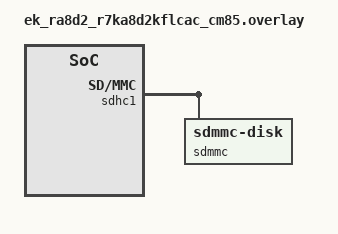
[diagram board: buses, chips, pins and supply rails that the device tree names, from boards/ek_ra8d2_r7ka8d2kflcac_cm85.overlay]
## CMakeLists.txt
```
# SPDX-License-Identifier: Apache-2.0

cmake_minimum_required(VERSION 3.28.0)
find_package(Zephyr REQUIRED HINTS $ENV{ZEPHYR_BASE})
project(fat_fs_api)

target_sources(app PRIVATE
  src/common.c
  src/main.c
  src/test_fat_fs.c
  src/test_fat_dir.c
  src/test_fat_mount.c
  src/test_fat_rename.c
  src/test_fat_rename.c
  src/test_fat_rd_only_mount.c
  src/test_fat_file.c
  src/test_fat_cve.c
  ../common/test_fs_open_flags.c
)
if(CONFIG_FILE_SYSTEM_MKFS)
  target_sources_ifdef(CONFIG_FLASH app PRIVATE
    ../common/test_fs_mkfs.c
    src/test_fat_mkfs.c
  )
endif()
target_sources_ifdef(CONFIG_FILE_SYSTEM_GETATTR app PRIVATE
  src/test_fat_attr.c
)
target_sources_ifdef(CONFIG_FS_FATFS_REENTRANT app PRIVATE
  src/test_fat_file_reentrant.c
)
```

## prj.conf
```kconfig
CONFIG_FILE_SYSTEM=y
CONFIG_FILE_SYSTEM_MKFS=y
CONFIG_LOG=y
CONFIG_FAT_FILESYSTEM_ELM=y
CONFIG_ZTEST=y
CONFIG_FLASH=y
CONFIG_FLASH_MAP=y

# Demonstrate filesystem time integration
CONFIG_FS_FATFS_HAS_RTC=y
```

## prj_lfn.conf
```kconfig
CONFIG_FILE_SYSTEM=y
CONFIG_FILE_SYSTEM_MKFS=y
CONFIG_LOG=y
CONFIG_FAT_FILESYSTEM_ELM=y
CONFIG_FS_FATFS_LFN=y
CONFIG_FS_FATFS_EXTRA_NATIVE_API=y
CONFIG_ZTEST=y
CONFIG_FLASH=y
CONFIG_FLASH_MAP=y
```

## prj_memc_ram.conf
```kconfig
CONFIG_FILE_SYSTEM=y
CONFIG_FILE_SYSTEM_MKFS=y
CONFIG_LOG=y
CONFIG_FAT_FILESYSTEM_ELM=y
CONFIG_ZTEST=y
CONFIG_FLASH=y
CONFIG_DISK_DRIVER_FLASH=n
CONFIG_MEMC=y
CONFIG_MAIN_STACK_SIZE=4096
CONFIG_ZTEST_STACK_SIZE=4096
```

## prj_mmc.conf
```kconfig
CONFIG_FILE_SYSTEM=y
CONFIG_LOG=y
CONFIG_FAT_FILESYSTEM_ELM=y
CONFIG_SPI=y
CONFIG_GPIO=y
CONFIG_ZTEST=y
CONFIG_MAIN_STACK_SIZE=4096
CONFIG_ZTEST_STACK_SIZE=2048
```

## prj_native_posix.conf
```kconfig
CONFIG_FILE_SYSTEM=y
CONFIG_LOG=y
CONFIG_FAT_FILESYSTEM_ELM=y
CONFIG_DISK_DRIVER_FLASH=y
CONFIG_DISK_FLASH_DEV_NAME="flash-controller@0"
CONFIG_DISK_FLASH_START=0
CONFIG_DISK_FLASH_MAX_RW_SIZE=256
CONFIG_DISK_ERASE_BLOCK_SIZE=0x1000
CONFIG_DISK_FLASH_ERASE_ALIGNMENT=0x1000
CONFIG_DISK_VOLUME_SIZE=0x200000
CONFIG_ZTEST=y
CONFIG_ZTEST_NEW_API=y
```

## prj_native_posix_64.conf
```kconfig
CONFIG_FILE_SYSTEM=y
CONFIG_LOG=y
CONFIG_FAT_FILESYSTEM_ELM=y
CONFIG_DISK_DRIVER_FLASH=y
CONFIG_ZTEST=y
CONFIG_ZTEST_NEW_API=y
```

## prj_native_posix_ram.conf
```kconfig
CONFIG_FILE_SYSTEM=y
CONFIG_FILE_SYSTEM_MKFS=y
CONFIG_LOG=y
CONFIG_FAT_FILESYSTEM_ELM=y
CONFIG_DISK_DRIVER_RAM=y
CONFIG_ZTEST=y
CONFIG_ZTEST_NEW_API=y
CONFIG_FLASH=y
CONFIG_FLASH_MAP=y
```

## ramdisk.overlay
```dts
/*
 * Copyright (c) 2023 Nordic Semiconductor ASA
 *
 * SPDX-License-Identifier: Apache-2.0
 */

/ {
	ramdisk0 {
		compatible = "zephyr,ram-disk";
		disk-name = "RAM";
		sector-size = <512>;
		sector-count = <128>;
	};

	fstab {
		compatible = "zephyr,fstab";

		test_fstab: test-fstab {
			compatible = "zephyr,fstab,fatfs";
			mount-point = "/RAM:";
			disk-access;
			no-format;
		};
	};
};
```

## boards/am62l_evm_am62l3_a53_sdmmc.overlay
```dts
/*
 * Copyright (c) 2026 Texas Instruments
 *
 * SPDX-License-Identifier: Apache-2.0
 */

&main_sdhci0 {
	status = "disabled";

	mmc {
		status = "disabled";
	};
};

&main_sdhci1 {
	sd {
		disk-name = "SD";
	};
};
```

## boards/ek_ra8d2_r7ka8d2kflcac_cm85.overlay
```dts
/*
 * Copyright (c) 2025 Renesas Electronics Corporation
 * SPDX-License-Identifier: Apache-2.0
 */

/ {
	aliases {
		sdhc0 = &sdhc1;
	};
};

&pinctrl {
	sdhc1_default: sdhc1_default {
		group1 {
			psels = <RA_PSEL(RA_PSEL_SDHI, 4, 6)>, /* SDCD */
				<RA_PSEL(RA_PSEL_SDHI, 4, 1)>, /* SDCMD */
				<RA_PSEL(RA_PSEL_SDHI, 4, 2)>, /* SDDATA0 */
				<RA_PSEL(RA_PSEL_SDHI, 4, 3)>, /* SDDATA1 */
				<RA_PSEL(RA_PSEL_SDHI, 4, 4)>, /* SDDATA2 */
				<RA_PSEL(RA_PSEL_SDHI, 4, 5)>, /* SDDATA3 */
				<RA_PSEL(RA_PSEL_SDHI, 7, 0)>; /* SDWP */
			drive-strength = "high";
		};

		group2 {
			psels = <RA_PSEL(RA_PSEL_SDHI, 4, 0)>; /* SDCLK */
			drive-strength = "highspeed-high";
		};
	};
};

&sdhc1 {
	pinctrl-0 = <&sdhc1_default>;
	pinctrl-names = "default";
	interrupt-names = "accs", "card", "dma-req", "sdio-int";
	interrupts = <95 1>, <94 1>, <93 1>, <92 1>;
	status = "okay";

	sdmmc {
		compatible = "zephyr,sdmmc-disk";
		disk-name = "SD";
		status = "okay";
	};
};
```

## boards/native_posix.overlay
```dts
/*
 * Copyright (c) 2022 Nordic Semiconductor ASA
 *
 * SPDX-License-Identifier: Apache-2.0
 */

&flashcontroller0 {
	reg = <0x00000000 DT_SIZE_K(2048)>;
};

&flash0 {
	reg = <0x00000000 DT_SIZE_K(2048)>;
	partitions {
		compatible = "fixed-partitions";
		#address-cells = <1>;
		#size-cells = <1>;

		flashdisk_partition: partition@0 {
			label = "flashdisk";
			reg = <0x00000000 0x00200000>;
		};
	};
};

/ {
	storage_disk {
		compatible = "zephyr,flash-disk";
		partition = <&flashdisk_partition>;
		disk-name = "NAND";
		cache-size = <4096>;
	};
};
```

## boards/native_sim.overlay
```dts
/*
 * Copyright (c) 2022 Nordic Semiconductor ASA
 *
 * SPDX-License-Identifier: Apache-2.0
 */

&flashcontroller0 {
	reg = <0x00000000 DT_SIZE_K(2048)>;
};

&flash0 {
	reg = <0x00000000 DT_SIZE_K(2048)>;

	partitions {
		compatible = "fixed-partitions";
		#address-cells = <1>;
		#size-cells = <1>;

		flashdisk_partition: partition@0 {
			reg = <0x00000000 0x00200000>;
			label = "flashdisk";
		};
	};
};

/ {
	test_disk: storage_disk {
		compatible = "zephyr,flash-disk";
		partition = <&flashdisk_partition>;
		disk-name = "NAND";
		cache-size = <4096>;
	};
};
```

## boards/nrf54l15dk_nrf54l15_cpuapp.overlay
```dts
/*
 * Copyright (c) 2026 Nordic Semiconductor ASA
 * SPDX-License-Identifier: Apache-2.0
 */

/ {
	test_disk: msc_disk0 {
		compatible = "zephyr,flash-disk";
		partition = <&slot1_partition>;
		disk-name = "NOR";
		cache-size = <4096>;
	};
};
```

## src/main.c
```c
/*
 * Copyright (c) 2016 Intel Corporation.
 * Copyright (c) 2023 Husqvarna AB
 *
 * SPDX-License-Identifier: Apache-2.0
 */

#include <time.h>

#include <zephyr/sys/clock.h>
#include "test_fat.h"
void test_fs_open_flags(void);
const char *test_fs_open_flags_file_path = FATFS_MNTP "/the_file.txt";

/* Time integration for filesystem */
DWORD get_fattime(void)
{
	struct timespec ts;
	time_t unix_time;
	struct tm *cal;

	sys_clock_gettime(SYS_CLOCK_REALTIME, &ts);
	unix_time = ts.tv_sec;

	/* Convert to calendar time */
	cal = localtime(&unix_time);

	/* From http://elm-chan.org/fsw/ff/doc/fattime.html */
	return (DWORD)(cal->tm_year - 80) << 25 | (DWORD)(cal->tm_mon + 1) << 21 |
	       (DWORD)cal->tm_mday << 16 | (DWORD)cal->tm_hour << 11 | (DWORD)cal->tm_min << 5 |
	       (DWORD)cal->tm_sec >> 1;
}

static void *fat_fs_basic_setup(void)
{
	fs_file_t_init(&filep);
	test_fat_mount();
	test_fat_file();
	test_fat_dir();
	test_fat_fs();
#ifdef CONFIG_FILE_SYSTEM_GETATTR
	test_fat_attr();
#endif /* CONFIG_FILE_SYSTEM_GETATTR */
	test_fat_rename();
	test_fat_cve();
	test_fs_open_flags();
#ifdef CONFIG_FS_FATFS_REENTRANT
	test_fat_file_reentrant();
#endif /* CONFIG_FS_FATFS_REENTRANT */
	test_fat_unmount();

	return NULL;
}
ZTEST_SUITE(fat_fs_basic, NULL, fat_fs_basic_setup, NULL, NULL, NULL);
```

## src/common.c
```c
/*
 * Copyright (c) 2016 Intel Corporation.
 * Copyright (c) 2023 Husqvarna AB
 * Copyright 2026 NXP
 *
 * SPDX-License-Identifier: Apache-2.0
 */

#include "test_fat.h"

#include <zephyr/storage/disk_access.h>
#include <zephyr/sys/byteorder.h>

/* FatFs work area */
FATFS fat_fs;
struct fs_file_t filep;
const char test_str[] = "hello world!";

#if defined(CONFIG_FS_FATFS_MULTI_PARTITION)
/*
 * FatFS multi-partition mapping.
 *
 * Map logical drive 0 ("SD:") -> physical disk 0, MBR partition #1.
 * This allows formatting/mounting within the partition rather than using
 * super-floppy formatting on the whole card.
 */
PARTITION VolToPart[] = {
	{0, 1},
};
#endif

/* For large disks, we only send 1024 erase requests
 * This assumption relies on the fact that any filesystem headers will be
 * stored within this range, and is made to improve execution time of this
 * test
 */
#define MAX_ERASES 1024

int check_file_dir_exists(const char *path)
{
	int res;
	struct fs_dirent entry;

	/* Verify fs_stat() */
	res = fs_stat(path, &entry);

	return !res;
}

static uint8_t erase_buffer[4096] __aligned(32) = {0};

int wipe_partition(void)
{
	uint32_t sector_size;
	uint32_t sector_count;
	uint32_t sector_wr_jmp;
	uint32_t sector_wr_size;

	/*
	 * When using FatFS multi-partition, preserve the partition table (MBR) and
	 * only wipe the beginning of the first partition.
	 */
#if defined(CONFIG_FS_FATFS_MULTI_PARTITION)
	static uint8_t mbr[512] __aligned(32);
	uint32_t part_lba;
	uint32_t part_sectors;
#endif

	if (disk_access_init(DISK_NAME)) {
		TC_PRINT("Failed to init disk " DISK_NAME "\n");
		return TC_FAIL;
	}

#if defined(CONFIG_FS_FATFS_MULTI_PARTITION)
	if (disk_access_read(DISK_NAME, mbr, 0, 1)) {
		TC_PRINT("Failed to read MBR from disk " DISK_NAME "\n");
		return TC_FAIL;
	}

	/* Verify MBR signature 0x55AA */
	if (mbr[510] != 0x55 || mbr[511] != 0xAA) {
		TC_PRINT("Invalid MBR signature on disk " DISK_NAME "\n");
		return TC_FAIL;
	}

	/* First partition entry starts at offset 446. Start LBA is at +8, size at +12 */
	part_lba = sys_get_le32(&mbr[446 + 8]);
	part_sectors = sys_get_le32(&mbr[446 + 12]);

	if (part_lba == 0U || part_sectors == 0U) {
		TC_PRINT("MBR partition #1 not found/invalid on disk " DISK_NAME "\n");
		return TC_FAIL;
	}
#endif

	if (disk_access_ioctl(DISK_NAME, DISK_IOCTL_GET_SECTOR_COUNT, &sector_count)) {
		TC_PRINT("Failed to get disk " DISK_NAME " sector count\n");
		return TC_FAIL;
	}
	if (disk_access_ioctl(DISK_NAME, DISK_IOCTL_GET_SECTOR_SIZE, &sector_size)) {
		TC_PRINT("Failed to get disk " DISK_NAME " sector size\n");
		return TC_FAIL;
	}

	if (sector_size > ARRAY_SIZE(erase_buffer)) {
		TC_PRINT("Predefined \"erase_buffer\" to small to handle single sector\n");
		return TC_FAIL;
	}

#if defined(CONFIG_FS_FATFS_MULTI_PARTITION)
	/* Wipe only within the first partition (cap to 64 sectors for speed) */
	sector_count = MIN(part_sectors, 64U);
#else
	if (sector_count > 64) {
		/* partition only in first 32k */
		sector_count = 64;
	}
#endif
	sector_wr_size = MIN(sector_size, ARRAY_SIZE(erase_buffer));
	sector_wr_jmp = sector_wr_size / sector_wr_size;
	TC_PRINT("For " DISK_NAME " using sector write size %" PRIu32 " to write %" PRIu32
		 " at once\n",
		 sector_wr_size, sector_wr_jmp);

	for (uint32_t sector_idx = 0; sector_idx < sector_count; sector_idx += sector_wr_jmp) {
#if defined(CONFIG_FS_FATFS_MULTI_PARTITION)
		uint32_t phys_sector = part_lba + sector_idx;
#else
		uint32_t phys_sector = sector_idx;
#endif
		if (disk_access_write(DISK_NAME, erase_buffer, phys_sector, 1)) {
			TC_PRINT("Failed to \"erase\" sector %" PRIu32 " to " DISK_NAME "\n",
				 phys_sector);
			return TC_FAIL;
		}
	}

	return TC_PASS;
}
```

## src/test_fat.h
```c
/*
 * Copyright (c) 2016 Intel Corporation.
 * Copyright (c) 2020 Nordic Semiconductor ASA
 * Copyright (c) 2023 Husqvarna AB
 *
 * SPDX-License-Identifier: Apache-2.0
 */

#include <zephyr/kernel.h>
#include <zephyr/ztest.h>
#include <zephyr/fs/fs.h>
#include <ff.h>

#if defined(CONFIG_DISK_DRIVER_RAM) || defined(CONFIG_DISK_DRIVER_MEMC_RAM)
#define DISK_NAME "RAM"
#elif defined(CONFIG_DISK_DRIVER_FLASH)
#define DISK_NAME DT_PROP(DT_NODELABEL(test_disk), disk_name)
#elif defined(CONFIG_DISK_DRIVER_SDMMC)
#define DISK_NAME "SD"
#elif defined(CONFIG_DISK_DRIVER_MMC)
#define DISK_NAME "SD2"
#elif defined(CONFIG_DISK_DRIVER_VIRTIO_BLK)
#define DISK_NAME DT_PROP(DT_NODELABEL(virtio_blk), disk_name)
#else
#error "Failed to select DISK access type"
#endif

#define FATFS_MNTP	"/"DISK_NAME":"
#if defined(CONFIG_FS_FATFS_LFN)
#define TEST_FILE	FATFS_MNTP \
	"/testlongfilenamethatsmuchlongerthan8.3chars.text"
#else
#define TEST_FILE	FATFS_MNTP"/testfile.txt"
#endif /* CONFIG_FS_FATFS_LFN */
#define TEST_DIR	FATFS_MNTP"/testdir"
#define TEST_DIR_FILE	FATFS_MNTP"/testdir/testfile.txt"

extern struct fs_file_t filep;
extern const char test_str[];
/* FatFs work area */
extern FATFS fat_fs;

int check_file_dir_exists(const char *path);
int wipe_partition(void);

void test_fat_mount(void);
void test_fat_unmount(void);
void test_fat_file(void);
void test_fat_dir(void);
void test_fat_fs(void);
void test_fat_attr(void);
void test_fat_rename(void);
void test_fat_cve(void);
#ifdef CONFIG_FS_FATFS_REENTRANT
void test_fat_file_reentrant(void);
#endif /* CONFIG_FS_FATFS_REENTRANT */
```

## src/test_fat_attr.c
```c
/*
 * Copyright (c) 2026 Rishav Chakraborty
 *
 * SPDX-License-Identifier: Apache-2.0
 */

#include "test_fat.h"
#include <string.h>

static void write_test_file(fs_mode_t flags)
{
	ssize_t brw;
	int res;

	res = fs_open(&filep, TEST_FILE, flags);
	zassert_equal(res, 0, "fs_open failed [%d]", res);

	brw = fs_write(&filep, test_str, strlen(test_str));
	zassert_equal(brw, strlen(test_str), "fs_write failed [%zd]", brw);

	res = fs_close(&filep);
	zassert_equal(res, 0, "fs_close failed [%d]", res);
}

static void test_attr_mtime(void)
{
	struct fs_attr before;
	struct fs_attr after;
	int res;

	if (!IS_ENABLED(CONFIG_FS_FATFS_HAS_RTC)) {
		TC_PRINT("FatFs timestamping disabled, skipping mtime test\n");
		return;
	}

	write_test_file(FS_O_CREATE | FS_O_RDWR);

	res = fs_getattr(TEST_FILE, &before);
	zassert_equal(res, 0, "fs_getattr failed [%d]", res);
	zassert_true((before.mask & FS_ATTR_MTIME) != 0U, "mtime not supported");

	/* FAT timestamps have 2 second resolution */
	k_sleep(K_SECONDS(2));

	write_test_file(FS_O_RDWR);

	res = fs_getattr(TEST_FILE, &after);
	zassert_equal(res, 0, "fs_getattr failed [%d]", res);
	zassert_true(after.mtime > before.mtime, "mtime did not advance (%lld, %lld)",
		     (long long)before.mtime, (long long)after.mtime);

	res = fs_unlink(TEST_FILE);
	zassert_equal(res, 0, "fs_unlink failed [%d]", res);
}

static void test_attr_mount_point(void)
{
	struct fs_attr attr;
	int res;

	/* The FAT root directory has no timestamp */
	res = fs_getattr(FATFS_MNTP, &attr);
	zassert_equal(res, 0, "fs_getattr on mount point failed [%d]", res);
	zassert_equal(attr.mtime, 0, "Unexpected mtime %lld", (long long)attr.mtime);
}

void test_fat_attr(void)
{
	test_attr_mtime();
	test_attr_mount_point();
}
```

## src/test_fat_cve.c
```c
/*
 * Copyright (c) 2026 Linaro Limited
 *
 * SPDX-License-Identifier: Apache-2.0
 */

/*
 * Regression tests for vendored FatFs (ff.c) security fixes. These tests drive
 * ff.c's f_lseek() extend path directly on the already-mounted volume.
 */

#include "test_fat.h"
#include <string.h>

#define CVE_FILE DISK_NAME ":/cve6686.bin"

/*
 * CVE-2026-6686 (GHSA-h94p-vjqx-v7rr): extending a file past end-of-file with
 * f_lseek() must not expose residual on-disk data. The newly in-file range has
 * to read back as zeros, covering both freshly allocated clusters and the
 * unused tail (slack) of an already-allocated cluster.
 */
static int test_cve_2026_6686(void)
{
	static FIL fp;
	static uint8_t buf[512];
	int res;
	unsigned int bw, br;

	TC_PRINT("\nCVE-2026-6686 (f_lseek past-EOF zeroing):\n");

	/* Scenario 1: extend an empty file; the whole range must read zeroed. */
	res = f_open(&fp, CVE_FILE, FA_CREATE_ALWAYS | FA_WRITE | FA_READ);
	if (res != FR_OK) {
		TC_PRINT("f_open failed [%d]\n", res);
		return TC_FAIL;
	}
	res = f_lseek(&fp, 400);
	if (res != FR_OK || f_size(&fp) != 400) {
		TC_PRINT("f_lseek extend failed [%d]\n", res);
		f_close(&fp);
		return TC_FAIL;
	}
	f_lseek(&fp, 0);
	memset(buf, 0xAA, sizeof(buf));
	res = f_read(&fp, buf, 400, &br);
	if (res != FR_OK || br != 400) {
		TC_PRINT("f_read failed [%d] (%u)\n", res, br);
		f_close(&fp);
		return TC_FAIL;
	}
	for (int i = 0; i < 400; i++) {
		if (buf[i] != 0) {
			TC_PRINT("empty-extend leaked residual at %d (0x%02x)\n", i, buf[i]);
			f_close(&fp);
			return TC_FAIL;
		}
	}
	f_close(&fp);

	/*
	 * Scenario 2 (partial-cluster / straddle): write real data, truncate so
	 * its tail becomes unused slack that stays on disk, then re-extend within
	 * the same cluster. The re-exposed slack must read zeroed while the kept
	 * byte survives. This is the case whole-cluster zeroing alone would miss.
	 */
	res = f_open(&fp, CVE_FILE, FA_CREATE_ALWAYS | FA_WRITE | FA_READ);
	if (res != FR_OK) {
		TC_PRINT("f_open(2) failed [%d]\n", res);
		return TC_FAIL;
	}
	memset(buf, 0xCC, 400);
	res = f_write(&fp, buf, 400, &bw);
	if (res != FR_OK || bw != 400) {
		TC_PRINT("f_write failed [%d] (%u)\n", res, bw);
		f_close(&fp);
		return TC_FAIL;
	}
	f_lseek(&fp, 1);
	res = f_truncate(&fp);		/* objsize == 1, [1, 400) slack still on disk */
	if (res != FR_OK) {
		TC_PRINT("f_truncate failed [%d]\n", res);
		f_close(&fp);
		return TC_FAIL;
	}
	res = f_lseek(&fp, 300);		/* re-extend within the same cluster */
	if (res != FR_OK) {
		TC_PRINT("f_lseek re-extend failed [%d]\n", res);
		f_close(&fp);
		return TC_FAIL;
	}
	f_lseek(&fp, 0);
	memset(buf, 0xAA, sizeof(buf));
	res = f_read(&fp, buf, 300, &br);
	if (res != FR_OK || br != 300) {
		TC_PRINT("f_read(2) failed [%d] (%u)\n", res, br);
		f_close(&fp);
		return TC_FAIL;
	}
	f_close(&fp);
	(void)f_unlink(CVE_FILE);

	if (buf[0] != 0xCC) {
		TC_PRINT("straddle kept byte clobbered (0x%02x)\n", buf[0]);
		return TC_FAIL;
	}
	for (int i = 1; i < 300; i++) {
		if (buf[i] != 0) {
			TC_PRINT("straddle leaked slack at %d (0x%02x)\n", i, buf[i]);
			return TC_FAIL;
		}
	}

	TC_PRINT("CVE-2026-6686: PASS\n");
	return TC_PASS;
}

void test_fat_cve(void)
{
	zassert_true(test_cve_2026_6686() == TC_PASS);
}
```

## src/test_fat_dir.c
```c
/*
 * Copyright (c) 2016 Intel Corporation.
 *
 * SPDX-License-Identifier: Apache-2.0
 */


#include "test_fat.h"
#include <stdio.h>

extern int test_file_write(void);
extern int test_file_close(void);
static int test_rmdir(void);

static int test_mkdir(void)
{
	int res;

	TC_PRINT("\nmkdir tests:\n");

	if (check_file_dir_exists(TEST_DIR)) {
		TC_PRINT("[%s] exists, delete it\n", TEST_DIR);
		if (test_rmdir()) {
			TC_PRINT("Error deleting dir %s\n", TEST_DIR);
			return TC_FAIL;
		}
	} else {
		TC_PRINT("Creating new dir %s\n", TEST_DIR);
	}

	/* Verify fs_mkdir() */
	res = fs_mkdir(TEST_DIR);
	if (res) {
		TC_PRINT("Error creating dir[%d]\n", res);
		return res;
	}

	res = fs_open(&filep, TEST_DIR_FILE, FS_O_CREATE | FS_O_RDWR);
	if (res) {
		TC_PRINT("Failed opening file [%d]\n", res);
		return res;
	}

	res = test_file_write();
	if (res) {
		return res;
	}

	res = fs_close(&filep);
	if (res) {
		TC_PRINT("Error closing file [%d]\n", res);
		return res;
	}

	TC_PRINT("Created dir %s!\n", TEST_DIR);

	return res;
}

static int test_lsdir(const char *path)
{
	int res;
	struct fs_dir_t dirp;
	struct fs_dirent entry;

	TC_PRINT("\nlsdir tests:\n");

	fs_dir_t_init(&dirp);

	/* Verify fs_opendir() */
	res = fs_opendir(&dirp, path);
	if (res) {
		TC_PRINT("Error opening dir %s [%d]\n", path, res);
		return res;
	}

	TC_PRINT("\nListing dir %s:\n", path);
	for (;;) {
		/* Verify fs_readdir() */
		res = fs_readdir(&dirp, &entry);

		/* entry.name[0] == 0 means end-of-dir */
		if (res || entry.name[0] == 0) {
			break;
		}

		if (entry.type == FS_DIR_ENTRY_DIR) {
			TC_PRINT("[DIR ] %s\n", entry.name);
		} else {
			TC_PRINT("[FILE] %s (size = %zu)\n",
				entry.name, entry.size);
		}
	}

	/* Verify fs_closedir() */
	fs_closedir(&dirp);

	return res;
}

static int test_rmdir(void)
{
	int res;
	struct fs_dir_t dirp;
	static struct fs_dirent entry;
	char file_path[80 + MAX_FILE_NAME];

	TC_PRINT("\nrmdir tests:\n");

	fs_dir_t_init(&dirp);

	if (!check_file_dir_exists(TEST_DIR)) {
		TC_PRINT("%s doesn't exist\n", TEST_DIR);
		return TC_FAIL;
	}

	res = fs_opendir(&dirp, TEST_DIR);
	if (res) {
		TC_PRINT("Error opening dir[%d]\n", res);
		return res;
	}

	TC_PRINT("\nRemoving files and sub directories in %s\n", TEST_DIR);
	for (;;) {
		res = fs_readdir(&dirp, &entry);

		/* entry.name[0] == 0 means end-of-dir */
		if (res || entry.name[0] == 0) {
			break;
		}

		/* Delete file or sub directory */
		sprintf(file_path, "%s/%s", TEST_DIR, entry.name);
		TC_PRINT("Removing %s\n", file_path);

		res = fs_unlink(file_path);
		if (res) {
			TC_PRINT("Error deleting file/dir [%d]\n", res);
			fs_closedir(&dirp);
			return res;
		}
	}

	fs_closedir(&dirp);

	/* Verify fs_unlink() */
	res = fs_unlink(TEST_DIR);
	if (res) {
		TC_PRINT("Error removing dir [%d]\n", res);
		return res;
	}

	TC_PRINT("Removed dir %s!\n", TEST_DIR);

	return res;
}

void test_fat_dir(void)
{
	zassert_true(test_mkdir() == TC_PASS);
	zassert_true(test_lsdir(FATFS_MNTP) == TC_PASS);
	zassert_true(test_lsdir(TEST_DIR) == TC_PASS);
	zassert_true(test_rmdir() == TC_PASS);
	zassert_true(test_lsdir(FATFS_MNTP) == TC_PASS);
}
```

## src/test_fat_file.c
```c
/*
 * Copyright (c) 2016 Intel Corporation.
 *
 * SPDX-License-Identifier: Apache-2.0
 */


#include "test_fat.h"
#include <string.h>

static int test_file_open(void)
{
	int res;

	TC_PRINT("\nOpen tests:\n");

	if (check_file_dir_exists(TEST_FILE)) {
		TC_PRINT("Opening existing file %s\n", TEST_FILE);
	} else {
		TC_PRINT("Creating new file %s\n", TEST_FILE);
	}

	/* Verify fs_open() */
	res = fs_open(&filep, TEST_FILE, FS_O_CREATE | FS_O_RDWR);
	if (res) {
		TC_PRINT("Failed opening file [%d]\n", res);
		return res;
	}

	TC_PRINT("Opened file %s\n", TEST_FILE);

	if (check_file_dir_exists(TEST_FILE)) {
		TC_PRINT("File now exists %s\n", TEST_FILE);
	}

	return res;
}

int test_file_write(void)
{
	ssize_t brw;
	int res;

	TC_PRINT("\nWrite tests:\n");

	/* Verify fs_seek() */
	res = fs_seek(&filep, 0, FS_SEEK_SET);
	if (res) {
		TC_PRINT("fs_seek failed [%d]\n", res);
		fs_close(&filep);
		return res;
	}

	TC_PRINT("Data written:\"%s\"\n\n", test_str);

	/* Verify fs_write() */
	brw = fs_write(&filep, (char *)test_str, strlen(test_str));
	if (brw < 0) {
		TC_PRINT("Failed writing to file [%zd]\n", brw);
		fs_close(&filep);
		return brw;
	}

	if (brw < strlen(test_str)) {
		TC_PRINT("Unable to complete write. Volume full.\n");
		TC_PRINT("Number of bytes written: [%zd]\n", brw);
		fs_close(&filep);
		return TC_FAIL;
	}

	TC_PRINT("Data successfully written!\n");

	return res;
}

static int test_file_sync(void)
{
	int res;

	TC_PRINT("\nSync tests:\n");

	/* Verify fs_sync() */
	res = fs_sync(&filep);
	if (res) {
		TC_PRINT("Error syncing file [%d]\n", res);
		return res;
	}

	return res;
}

static int test_file_read(void)
{
	ssize_t brw;
	int res;
	char read_buff[80];
	size_t sz = strlen(test_str);

	TC_PRINT("\nRead tests:\n");

	res = fs_seek(&filep, 0, FS_SEEK_SET);
	if (res) {
		TC_PRINT("fs_seek failed [%d]\n", res);
		fs_close(&filep);
		return res;
	}

	/* Verify fs_read() */
	brw = fs_read(&filep, read_buff, sz);
	if (brw < 0) {
		TC_PRINT("Failed reading file [%zd]\n", brw);
		fs_close(&filep);
		return brw;
	}

	read_buff[brw] = 0;

	TC_PRINT("Data read:\"%s\"\n\n", read_buff);

	if (strcmp(test_str, read_buff)) {
		TC_PRINT("Error - Data read does not match data written\n");
		TC_PRINT("Data read:\"%s\"\n\n", read_buff);
		return TC_FAIL;
	}

	TC_PRINT("Data read matches data written\n");

	return res;
}

static int test_file_truncate(void)
{
	int res;
	off_t orig_pos;
	char read_buff[80];
	ssize_t brw;

	TC_PRINT("\nTruncate tests:\n");

	/* Verify fs_truncate() */
	/* Test truncating to 0 size */
	TC_PRINT("\nTesting shrink to 0 size\n");
	res = fs_truncate(&filep, 0);
	if (res) {
		TC_PRINT("fs_truncate failed [%d]\n", res);
		fs_close(&filep);
		return res;
	}

	fs_seek(&filep, 0, FS_SEEK_END);
	/* Verify fs_tell() */
	if (fs_tell(&filep) > 0) {
		TC_PRINT("Failed truncating to size 0\n");
		fs_close(&filep);
		return TC_FAIL;
	}

	TC_PRINT("Testing write after truncating\n");
	res = test_file_write();
	if (res) {
		TC_PRINT("Write failed after truncating\n");
		return res;
	}

	fs_seek(&filep, 0, FS_SEEK_END);

	orig_pos = fs_tell(&filep);
	TC_PRINT("Original size of file = %ld\n", (long) orig_pos);

	/* Test shrinking file */
	TC_PRINT("\nTesting shrinking\n");
	res = fs_truncate(&filep, orig_pos - 5);
	if (res) {
		TC_PRINT("fs_truncate failed [%d]\n", res);
		fs_close(&filep);
		return res;
	}

	fs_seek(&filep, 0, FS_SEEK_END);
	TC_PRINT("File size after shrinking by 5 bytes = %ld\n",
						(long) fs_tell(&filep));
	if (fs_tell(&filep) != (orig_pos - 5)) {
		TC_PRINT("File size after fs_truncate not as expected\n");
		fs_close(&filep);
		return TC_FAIL;
	}

	/* Test expanding file */
	TC_PRINT("\nTesting expanding\n");
	fs_seek(&filep, 0, FS_SEEK_END);
	orig_pos = fs_tell(&filep);
	res = fs_truncate(&filep, orig_pos + 10);
	if (res) {
		TC_PRINT("fs_truncate failed [%d]\n", res);
		fs_close(&filep);
		return res;
	}

	fs_seek(&filep, 0, FS_SEEK_END);
	TC_PRINT("File size after expanding by 10 bytes = %ld\n",
						(long) fs_tell(&filep));
	if (fs_tell(&filep) != (orig_pos + 10)) {
		TC_PRINT("File size after fs_truncate not as expected\n");
		fs_close(&filep);
		return TC_FAIL;
	}

	/* Check if expanded regions are zeroed */
	TC_PRINT("Testing for zeroes in expanded region\n");
	fs_seek(&filep, -5, FS_SEEK_END);

	brw = fs_read(&filep, read_buff, 5);

	if (brw < 5) {
		TC_PRINT("Read failed after truncating\n");
		fs_close(&filep);
		return -1;
	}

	for (int i = 0; i < 5; i++) {
		if (read_buff[i]) {
			TC_PRINT("Expanded regions are not zeroed\n");
			fs_close(&filep);
			return TC_FAIL;
		}
	}

	return res;
}

static int test_file_seek_past_end(void)
{
	char read_buff[11];
	off_t size;
	ssize_t brw;
	int res;

	TC_PRINT("\nSeek past the end tests:\n");

	res = fs_seek(&filep, 0, FS_SEEK_END);
	if (res != 0) {
		TC_PRINT("fs_seek failed [%d]\n", res);
		fs_close(&filep);
		return res;
	}

	size = fs_tell(&filep);

	/* The file is open for writing, so it grows up to the new position */
	res = fs_seek(&filep, 10, FS_SEEK_END);
	if (res != 0) {
		TC_PRINT("fs_seek past the end failed [%d]\n", res);
		fs_close(&filep);
		return res;
	}

	if (fs_tell(&filep) != (size + 10)) {
		TC_PRINT("Position after seeking past the end not as expected\n");
		fs_close(&filep);
		return TC_FAIL;
	}

	brw = fs_write(&filep, "x", 1);
	if (brw != 1) {
		TC_PRINT("Failed writing past the end [%zd]\n", brw);
		fs_close(&filep);
		return TC_FAIL;
	}

	fs_seek(&filep, size, FS_SEEK_SET);
	brw = fs_read(&filep, read_buff, sizeof(read_buff));
	if (brw != sizeof(read_buff)) {
		TC_PRINT("Failed reading the extended region [%zd]\n", brw);
		fs_close(&filep);
		return TC_FAIL;
	}

	for (int i = 0; i < 10; i++) {
		if (read_buff[i] != 0) {
			TC_PRINT("Extended region is not zeroed\n");
			fs_close(&filep);
			return TC_FAIL;
		}
	}

	if (read_buff[10] != 'x') {
		TC_PRINT("Data written past the end not read back\n");
		fs_close(&filep);
		return TC_FAIL;
	}

	return TC_PASS;
}

static int test_file_seek_past_end_read_only(void)
{
	struct fs_file_t file;
	int res;

	TC_PRINT("\nSeek past the end of a read-only file tests:\n");

	fs_file_t_init(&file);

	res = fs_open(&file, TEST_FILE, FS_O_READ);
	if (res != 0) {
		TC_PRINT("Failed opening file [%d]\n", res);
		return res;
	}

	res = fs_seek(&file, 1, FS_SEEK_END);
	fs_close(&file);

	if (res != -EINVAL) {
		TC_PRINT("Seeking past the end of a read-only file returned [%d]\n", res);
		return TC_FAIL;
	}

	return TC_PASS;
}

int test_file_close(void)
{
	int res;

	TC_PRINT("\nClose tests:\n");

	res = fs_close(&filep);
	if (res) {
		TC_PRINT("Error closing file [%d]\n", res);
		return res;
	}

	TC_PRINT("Closed file %s\n", TEST_FILE);

	return res;
}

static int test_file_delete(void)
{
	int res;

	TC_PRINT("\nDelete tests:\n");

	/* Verify fs_unlink() */
	res = fs_unlink(TEST_FILE);
	if (res) {
		TC_PRINT("Error deleting file [%d]\n", res);
		return res;
	}

	/* Check if file was deleted */
	if (check_file_dir_exists(TEST_FILE)) {
		TC_PRINT("Failed deleting %s\n", TEST_FILE);
		return TC_FAIL;
	}

	TC_PRINT("File (%s) deleted successfully!\n", TEST_FILE);

	return res;
}

void test_fat_file(void)
{
	zassert_true(test_file_open() == TC_PASS);
	zassert_true(test_file_write() == TC_PASS);
	zassert_true(test_file_sync() == TC_PASS);
	zassert_true(test_file_read() == TC_PASS);
	zassert_true(test_file_truncate() == TC_PASS);
	zassert_true(test_file_seek_past_end() == TC_PASS);
	zassert_true(test_file_close() == TC_PASS);
	zassert_true(test_file_seek_past_end_read_only() == TC_PASS);
	zassert_true(test_file_delete() == TC_PASS);
}
```

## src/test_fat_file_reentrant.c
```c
/*
 * Copyright (c) 2023 Husqvarna AB
 *
 * SPDX-License-Identifier: Apache-2.0
 */

#include "test_fat.h"

#ifdef CONFIG_FS_FATFS_REENTRANT

#define REENTRANT_TEST_STACK_SIZE 500
#define SEMAPHORE_OP_SUCCESS 0
#define TEST_FILE2 FATFS_MNTP"/tfile2.txt"

void tlock_mutex(void *p1, void *p2, void *p3);
void tfile2_access(void *p1, void *p2, void *p3);

K_THREAD_STACK_DEFINE(tlock_mutex_stack_area, REENTRANT_TEST_STACK_SIZE);
K_THREAD_STACK_DEFINE(tfile2_access_stack_area, REENTRANT_TEST_STACK_SIZE);
struct k_thread tlock_mutex_data;
struct k_thread tfile2_access_data;
struct k_sem mutex_unlocked_sem;
struct k_sem run_non_thread_sem;

static int test_reentrant_access(void)
{
	int res;

	TC_PRINT("\nReentrant tests:\n");
	zassert_ok(k_sem_init(&mutex_unlocked_sem, 0, 1));
	zassert_ok(k_sem_init(&run_non_thread_sem, 0, 1));

	/* Start mutex locking thread */
	k_tid_t tid = k_thread_create(&tlock_mutex_data, tlock_mutex_stack_area,
			K_THREAD_STACK_SIZEOF(tlock_mutex_stack_area),
			tlock_mutex,
			NULL, NULL, NULL,
			K_PRIO_PREEMPT(0), 0, K_NO_WAIT);

	/* Make sure thread was able to lock mutex */
	k_sem_take(&run_non_thread_sem, K_FOREVER);

	/* File open should wait here, as the fs is locked. Therefore, automatic switch back to
	 * thread
	 */
	TC_PRINT("Open file\n");
	res = fs_open(&filep, TEST_FILE, FS_O_CREATE | FS_O_RDWR);
	zassert_ok(res, "Err: File could not be opened [%d]\n", res);
	TC_PRINT("File opened\n");

	/* Check if mutex thread really unlocked the mutexes */
	zassert_equal(SEMAPHORE_OP_SUCCESS, k_sem_take(&mutex_unlocked_sem, K_NO_WAIT),
		      "File open with locked mutex");

	/* Cleanup */
	res = fs_close(&filep);
	zassert_ok(res, "Error closing file [%d]\n", res);
	res = fs_unlink(TEST_FILE);
	zassert_ok(res, "Error deleting file [%d]\n", res);

	k_thread_join(tid, K_FOREVER);

	return res;
}

static int test_reentrant_parallel_file_access(void)
{
	int res;

	TC_PRINT("\nParallel reentrant-safe file access test:\n");

	TC_PRINT("Open file 1\n");
	res = fs_open(&filep, TEST_FILE, FS_O_CREATE | FS_O_RDWR);
	zassert_ok(res, "Err: File 1 could not be opened [%d]\n", res);
	TC_PRINT("File 1 opened 1\n");

	/* Start 2nd file access thread */
	k_tid_t tid = k_thread_create(&tfile2_access_data, tfile2_access_stack_area,
				      K_THREAD_STACK_SIZEOF(tfile2_access_stack_area),
				      tfile2_access,
				      NULL, NULL, NULL,
				      K_PRIO_PREEMPT(0), 0, K_NO_WAIT);

	/* Wait for thread to finish accessing file 2 */
	k_thread_join(tid, K_FOREVER);

	/* Check existence of file 2 */
	struct fs_file_t filep2;

	fs_file_t_init(&filep2);

	TC_PRINT("Check file 2 existence\n");
	res = fs_open(&filep2, TEST_FILE2, FA_OPEN_EXISTING | FA_READ);
	zassert_ok(res, "Err: File 2 does not exist [%d]\n", res);

	/* Cleanup */
	res = fs_close(&filep2);
	zassert_ok(res, "Error closing file 2 [%d]\n", res);
	res = fs_unlink(TEST_FILE2);
	zassert_ok(res, "Error deleting file 2 [%d]\n", res);
	res = fs_close(&filep);
	zassert_ok(res, "Error closing file 1 [%d]\n", res);
	res = fs_unlink(TEST_FILE);
	zassert_ok(res, "Error deleting file 1 [%d]\n", res);

	return res;
}

void release_dirty_mutex(void)
{
	ff_mutex_give(fat_fs.ldrv);
}

int request_dirty_mutex(void)
{
	return ff_mutex_take(fat_fs.ldrv);
}

void tlock_mutex(void *p1, void *p2, void *p3)
{
	TC_PRINT("Mutex thread: Started, locking fs\n");
	request_dirty_mutex();
	TC_PRINT("Mutex thread: Lock acquired, yield to switch back to try to open file\n");
	k_sem_give(&run_non_thread_sem);
	k_yield();

	TC_PRINT("Mutex thread: Got back to thread, release mutex now and give semaphore to check "
		 "if file opened\n");
	k_sem_give(&mutex_unlocked_sem);
	release_dirty_mutex();

	TC_PRINT("Mutex thread: Lock released, thread terminating\n");
}

void tfile2_access(void *p1, void *p2, void *p3)
{
	int res;
	ssize_t brw;
	struct fs_file_t filep2;

	TC_PRINT("File 2 access thread started\n");

	/* Init fp for 2nd File for parallel access test */
	fs_file_t_init(&filep2);

	/* open 2nd file */
	TC_PRINT("Open file 2\n");
	res = fs_open(&filep2, TEST_FILE2, FS_O_CREATE | FS_O_RDWR);
	zassert_ok(res, "Err: File 2 could not be opened [%d]\n", res);
	TC_PRINT("File 2 opened 2\n");

	/* Verify fs_write() not locked */
	brw = fs_write(&filep2, (char *)test_str, strlen(test_str));
	if (brw < 0) {
		TC_PRINT("Failed writing to file [%zd]\n", brw);
		fs_close(&filep2);
		return;
	}

	if (brw < strlen(test_str)) {
		TC_PRINT("Unable to complete write. Volume full.\n");
		TC_PRINT("Number of bytes written: [%zd]\n", brw);
		fs_close(&filep2);
		return;
	}

	/* Close file and switch back to test context*/
	res = fs_close(&filep2);
	zassert_ok(res, "Error closing file [%d]\n", res);

	TC_PRINT("File 2 access thread successfully wrote to file 2\n");
}

void test_fat_file_reentrant(void)
{
	zassert_true(test_reentrant_access() == TC_PASS);
	zassert_true(test_reentrant_parallel_file_access() == TC_PASS);
}
#endif  /* CONFIG_FS_FATFS_REENTRANT */
```

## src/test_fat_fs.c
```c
/*
 * Copyright (c) 2016 Intel Corporation.
 *
 * SPDX-License-Identifier: Apache-2.0
 */

#include "test_fat.h"

static int test_statvfs(void)
{
	struct fs_statvfs stat;
	int res;

	/* Verify fs_statvfs() */
	res = fs_statvfs(FATFS_MNTP, &stat);
	if (res) {
		TC_PRINT("Error getting volume stats [%d]\n", res);
		return res;
	}

	TC_PRINT("\n");
	TC_PRINT("Optimal transfer block size   = %lu\n", stat.f_bsize);
	TC_PRINT("Allocation unit size          = %lu\n", stat.f_frsize);
	TC_PRINT("Volume size in f_frsize units = %lu\n", stat.f_blocks);
	TC_PRINT("Free space in f_frsize units  = %lu\n", stat.f_bfree);

	return TC_PASS;
}

void test_fat_fs(void)
{
	zassert_true(test_statvfs() == TC_PASS);
}
```

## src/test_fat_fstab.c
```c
/*
 * Copyright (c) 2026 Meta Platforms, Inc. and affiliates.
 *
 * SPDX-License-Identifier: Apache-2.0
 */

#include <zephyr/storage/disk_access.h>

#include "test_fat.h"

#define TEST_FSTAB DT_NODELABEL(test_fstab)

FS_FSTAB_DECLARE_ENTRY(TEST_FSTAB);

ZTEST(fat_fs_fstab, test_fstab_no_format)
{
	struct fs_mount_t *mp = &FS_FSTAB_ENTRY(TEST_FSTAB);
	static uint8_t sector[512];

	zassert_ok(wipe_partition());
	zassert_not_equal(mp->flags & FS_MOUNT_FLAG_NO_FORMAT, 0U);
	zassert_true(fs_mount(mp) < 0, "mounted a disk without a file system");

	zassert_ok(disk_access_read(DISK_NAME, sector, 0, 1));
	zassert_false((sector[510] == 0x55U) && (sector[511] == 0xAAU), "disk was formatted");
}

ZTEST_SUITE(fat_fs_fstab, NULL, NULL, NULL, NULL, NULL);
```

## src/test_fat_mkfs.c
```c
/*
 * Copyright (c) 2022 Antmicro
 *
 * SPDX-License-Identifier: Apache-2.0
 */


#include "test_fat.h"
#include <ff.h>

/* mounting info */
static struct fs_mount_t fatfs_mnt = {
	.type = FS_FATFS,
	.mnt_point = "/"DISK_NAME":",
	.fs_data = &fat_fs,
};

void test_fs_mkfs_simple(void);
void test_fs_mkfs_ops(void);

struct fs_mount_t *fs_mkfs_mp = &fatfs_mnt;
const int fs_mkfs_type = FS_FATFS;
uintptr_t fs_mkfs_dev_id = (uintptr_t) DISK_NAME":";
int fs_mkfs_flags;
const char *some_file_path = "/"DISK_NAME":/SOME";
const char *other_dir_path = "/"DISK_NAME":/OTHER";

ZTEST(fat_fs_mkfs, test_mkfs_simple)
{
	int ret;

	ret = wipe_partition();
	zassert_equal(ret, TC_PASS, "wipe partition failed %d", ret);

	test_fs_mkfs_simple();
}

ZTEST(fat_fs_mkfs, test_mkfs_ops)
{
	int ret;

	ret = wipe_partition();
	zassert_equal(ret, TC_PASS, "wipe partition failed %d", ret);

	test_fs_mkfs_ops();
}

static MKFS_PARM custom_cfg = {
	.fmt = FM_ANY | FM_SFD,	/* Any suitable FAT */
	.n_fat = 1,		/* One FAT fs table */
	.align = 0,		/* Get sector size via diskio query */
	.n_root = CONFIG_FS_FATFS_MAX_ROOT_ENTRIES,
	.au_size = 0		/* Auto calculate cluster size */
};

ZTEST(fat_fs_mkfs, test_mkfs_custom)
{
	int ret;
	struct fs_mount_t mp = fatfs_mnt;
	struct fs_statvfs sbuf;

	ret = wipe_partition();
	zassert_equal(ret, 0, "wipe partition failed %d", ret);

	ret = fs_mkfs(FS_FATFS, fs_mkfs_dev_id, &custom_cfg, 0);
	zassert_equal(ret, 0, "mkfs failed %d", ret);


	mp.flags = FS_MOUNT_FLAG_NO_FORMAT;
	ret = fs_mount(&mp);
	zassert_equal(ret, 0, "mount failed %d", ret);

	ret = fs_statvfs(mp.mnt_point, &sbuf);
	zassert_equal(ret, 0, "statvfs failed %d", ret);

	TC_PRINT("statvfs: %lu %lu %lu %lu",
			sbuf.f_bsize, sbuf.f_frsize, sbuf.f_blocks, sbuf.f_bfree);

	ret = fs_unmount(&mp);
	zassert_equal(ret, 0, "unmount failed %d", ret);
}

ZTEST_SUITE(fat_fs_mkfs, NULL, NULL, NULL, NULL, NULL);
```

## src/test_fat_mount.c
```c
/*
 * Copyright (c) 2018 Intel Corporation.
 * Copyright (c) 2020 Nordic Semiconductor ASA
 * Copyright 2026 NXP
 *
 * SPDX-License-Identifier: Apache-2.0
 */

#include "test_fat.h"

/* mounting info */
static struct fs_mount_t fatfs_mnt = {
	.type = FS_FATFS,
	.mnt_point = FATFS_MNTP,
	.fs_data = &fat_fs,
};

static int test_mount_no_format(void)
{
	int ret = 0;

	fatfs_mnt.flags = FS_MOUNT_FLAG_NO_FORMAT;
	ret = fs_mount(&fatfs_mnt);

	if (ret >= 0) {
		TC_PRINT("Expected failure\n");
		return TC_FAIL;
	}
	fatfs_mnt.flags = 0;

	return TC_PASS;
}

static int test_mount_rd_only_no_sys(void)
{
	int ret = 0;

	fatfs_mnt.flags = FS_MOUNT_FLAG_READ_ONLY;
	ret = fs_mount(&fatfs_mnt);

	if (ret >= 0) {
		TC_PRINT("Expected failure\n");
		return TC_FAIL;
	}
	fatfs_mnt.flags = 0;

	return TC_PASS;
}

static int test_mount_use_disk_access(void)
{
	int res;

	fatfs_mnt.flags = FS_MOUNT_FLAG_USE_DISK_ACCESS;
	res = fs_mount(&fatfs_mnt);
	if (res < 0) {
		TC_PRINT("Error mounting fs [%d]\n", res);
		return TC_FAIL;
	}
	return ((fatfs_mnt.flags & FS_MOUNT_FLAG_USE_DISK_ACCESS) ? TC_PASS : TC_FAIL);
}

static int test_mount(void)
{
	int res;

	fatfs_mnt.flags = 0;
	res = fs_mount(&fatfs_mnt);
	if (res < 0) {
		TC_PRINT("Error mounting fs [%d]\n", res);
		return TC_FAIL;
	}
	return ((fatfs_mnt.flags & FS_MOUNT_FLAG_USE_DISK_ACCESS) ? TC_PASS : TC_FAIL);
}

static int test_unmount(void)
{
	return (fs_unmount(&fatfs_mnt) >= 0 ? TC_PASS : TC_FAIL);
}

void test_fat_unmount(void)
{
	zassert_true(test_unmount() == TC_PASS);
}

void test_fat_mount(void)
{
	zassert_true(wipe_partition() == 0);
	zassert_false(test_unmount() == TC_PASS);
	zassert_true(test_mount_no_format() == TC_PASS);
	zassert_true(test_mount_rd_only_no_sys() == TC_PASS);

/*
 * When using an SD card partition table (MBR), format only within the
 * partition (no FM_SFD), then mount.
 */
#if defined(CONFIG_FS_FATFS_MULTI_PARTITION)
	MKFS_PARM mkfs_opt = {
		.fmt = FM_ANY, /* IMPORTANT: do not set FM_SFD (super-floppy) */
		.n_fat = 1,
		.align = 0,
		.n_root = CONFIG_FS_FATFS_MAX_ROOT_ENTRIES,
		.au_size = 0,
	};

	/* fatfs_mkfs expects a "drive:" style string, not a Zephyr "/SD:" path */
	int rc = fs_mkfs(FS_FATFS, (uintptr_t)DISK_NAME ":", &mkfs_opt, 0);

	zassert_equal(rc, 0, "mkfs failed (%d)", rc);
#endif

	zassert_true(test_mount_use_disk_access() == TC_PASS);
	zassert_true(test_unmount() == TC_PASS);
	zassert_true(test_mount() == TC_PASS);
	zassert_false(test_mount() == TC_PASS);
}
```

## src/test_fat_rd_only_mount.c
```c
/*
 * Copyright (c) 2020 Nordic Semiconductor ASA
 *
 * SPDX-License-Identifier: Apache-2.0
 */


#include "test_fat.h"

/* mounting info */
static struct fs_mount_t fatfs_mnt = {
	.type = FS_FATFS,
	.mnt_point = FATFS_MNTP,
	.fs_data = &fat_fs,
};

static void test_prepare(void)
{
	struct fs_file_t fs;

	fs_file_t_init(&fs);
	zassert_equal(fs_mount(&fatfs_mnt), 0);
	zassert_equal(fs_open(&fs, FATFS_MNTP"/testfile.txt", FS_O_CREATE), 0);
	zassert_equal(fs_close(&fs), 0);
	zassert_equal(fs_unmount(&fatfs_mnt), 0);
}

static void test_unmount(void)
{
	zassert_true(fs_unmount(&fatfs_mnt) >= 0);
}

static void test_ops_on_rd(void)
{
	struct fs_file_t fs;
	int ret;

	fs_file_t_init(&fs);
	/* Check fs operation on volume mounted with FS_MOUNT_FLAG_READ_ONLY */
	fatfs_mnt.flags = FS_MOUNT_FLAG_READ_ONLY;
	TC_PRINT("Mount as read-only\n");
	ret = fs_mount(&fatfs_mnt);
	zassert_equal(ret, 0, "Expected success got %d", ret);

	/* Attempt creating new file */
	ret = fs_open(&fs, FATFS_MNTP"/nosome", FS_O_CREATE);
	zassert_equal(ret, -EROFS, "Expected EROFS got %d", ret);
	ret = fs_mkdir(FATFS_MNTP"/another");
	zassert_equal(ret, -EROFS, "Expected EROFS got %d", ret);
	ret = fs_rename(FATFS_MNTP"/testfile.txt", FATFS_MNTP"/bestfile.txt");
	zassert_equal(ret, -EROFS, "Expected EROFS got %d", ret);
	ret = fs_unlink(FATFS_MNTP"/testfile.txt");
	zassert_equal(ret, -EROFS, "Expected EROFS got %d", ret);
	ret = fs_open(&fs, FATFS_MNTP"/testfile.txt", FS_O_RDWR);
	zassert_equal(ret, -EROFS, "Expected EROFS got %d", ret);
	ret = fs_open(&fs, FATFS_MNTP"/testfile.txt", FS_O_READ);
	zassert_equal(ret, 0, "Expected success got %d", ret);
	fs_close(&fs);
}

ZTEST(fat_fs_basic, test_fat_mount_rd_only)
{
	test_prepare();
	test_ops_on_rd();
	test_unmount();
}
```
